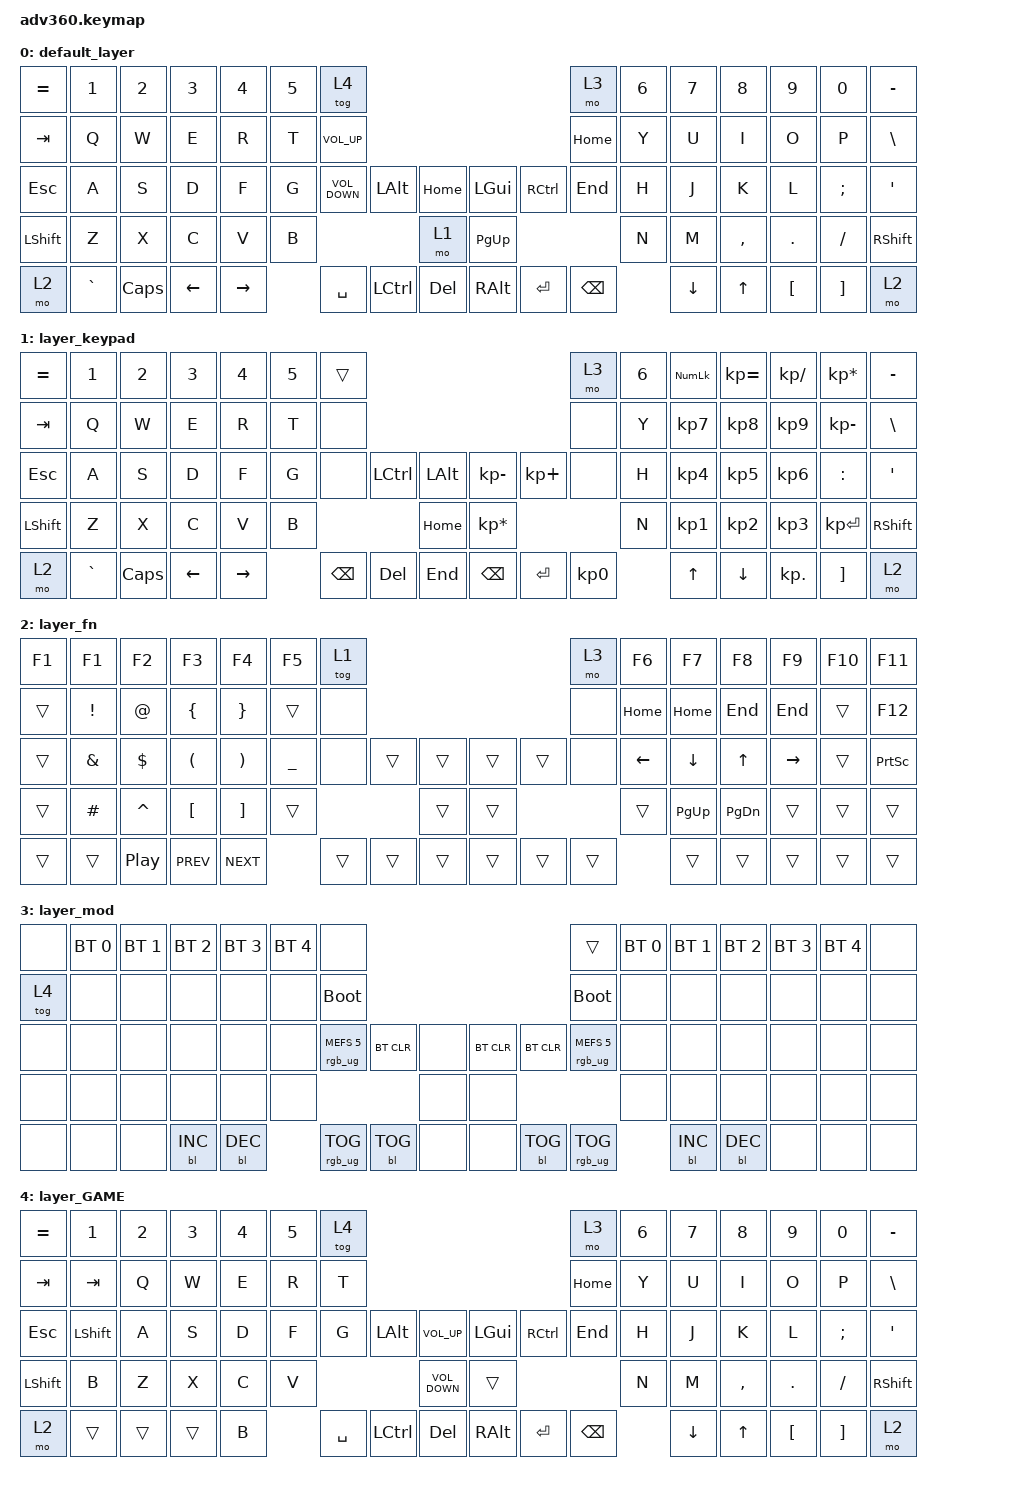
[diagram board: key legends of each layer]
/*
 * Copyright (c) 2020 The ZMK Contributors
 *
 * SPDX-License-Identifier: MIT
 */
/* THIS FILE WAS GENERATED!
 *
 * This file was generated automatically. You may or may not want to
 * edit it directly.
 */

#include <behaviors.dtsi>
#include <dt-bindings/zmk/backlight.h>
#include <dt-bindings/zmk/bt.h>
#include <dt-bindings/zmk/keys.h>
#include <dt-bindings/zmk/rgb.h>

/ {
    behaviors {
        #include "macros.dtsi"
      #include "version.dtsi"
      #ifndef VERSION_MACRO

        macro_ver: macro_ver {
            compatible = "zmk,behavior-macro";
            label = "macro_version";
            #binding-cells = <0>;
            bindings = <&kp RET>;
        };

        #endif

        hm: homerow_mods {
            compatible = "zmk,behavior-hold-tap";
            label = "HOMEROW_MODS";
            #binding-cells = <2>;
            tapping-term-ms = <200>;
            quick_tap_ms = <175>;
            flavor = "tap-preferred";
            bindings = <&kp>, <&kp>;
        };
    };

    macros {
    };

    keymap {
        compatible = "zmk,keymap";

        default_layer {
            bindings = <
&kp EQUAL  &kp N1     &kp N2    &kp N3    &kp N4     &kp N5  &tog 4                                                                         &mo 3          &kp N6  &kp N7    &kp N8     &kp N9    &kp N0    &kp MINUS
&kp TAB    &kp Q      &kp W     &kp E     &kp R      &kp T   &kp C_VOLUME_UP                                                                &kp HOME       &kp Y   &kp U     &kp I      &kp O     &kp P     &kp BSLH
&kp ESC    &kp A      &kp S     &kp D     &kp F      &kp G   &kp C_VOLUME_DOWN  &kp LEFT_ALT      &kp HOME        &kp LGUI       &kp RCTRL  &kp END        &kp H   &kp J     &kp K      &kp L     &kp SEMI  &kp SQT
&kp LSHFT  &kp Z      &kp X     &kp C     &kp V      &kp B                                        &mo 1           &kp PG_UP                                &kp N   &kp M     &kp COMMA  &kp DOT   &kp FSLH  &kp RSHFT
&mo 2      &kp GRAVE  &kp CAPS  &kp LEFT  &kp RIGHT          &kp SPACE          &kp LEFT_CONTROL  &kp DELETE      &kp RIGHT_ALT  &kp ENTER  &kp BACKSPACE          &kp DOWN  &kp UP     &kp LBKT  &kp RBKT  &mo 2
            >;
        };

        layer_keypad {
            bindings = <
&kp EQUAL  &kp N1     &kp N2    &kp N3    &kp N4     &kp N5  &trans                                                           &mo 3      &kp N6  &kp KP_NUM  &kp KP_EQUAL  &kp KP_DIVIDE  &kp KP_MULTIPLY  &kp MINUS
&kp TAB    &kp Q      &kp W     &kp E     &kp R      &kp T   &none                                                            &none      &kp Y   &kp KP_N7   &kp KP_N8     &kp KP_N9      &kp KP_MINUS     &kp BSLH
&kp ESC    &kp A      &kp S     &kp D     &kp F      &kp G   &none     &kp LCTRL  &kp LALT      &kp KP_MINUS     &kp KP_PLUS  &none      &kp H   &kp KP_N4   &kp KP_N5     &kp KP_N6      &kp COLON        &kp SQT
&kp LSHFT  &kp Z      &kp X     &kp C     &kp V      &kp B                        &kp HOME      &kp KP_MULTIPLY                          &kp N   &kp KP_N1   &kp KP_N2     &kp KP_N3      &kp KP_ENTER     &kp RSHFT
&mo 2      &kp GRAVE  &kp CAPS  &kp LEFT  &kp RIGHT          &kp BSPC  &kp DEL    &kp END       &kp BACKSPACE    &kp ENTER    &kp KP_N0          &kp UP      &kp DOWN      &kp KP_DOT     &kp RBKT         &mo 2
            >;
        };

        layer_fn {
            bindings = <
&kp F1  &kp F1           &kp F2            &kp F3                &kp F4                 &kp F5          &tog 1                                      &mo 3   &kp F6    &kp F7       &kp F8         &kp F9     &kp F10  &kp F11
&trans  &kp EXCLAMATION  &kp AT_SIGN       &kp LEFT_BRACE        &kp RIGHT_BRACE        &trans          &none                                       &none   &kp HOME  &kp HOME     &kp END        &kp END    &trans   &kp F12
&trans  &kp AMPERSAND    &kp DOLLAR        &kp LEFT_PARENTHESIS  &kp RIGHT_PARENTHESIS  &kp UNDERSCORE  &none   &trans  &trans      &trans  &trans  &none   &kp LEFT  &kp DOWN     &kp UP         &kp RIGHT  &trans   &kp PRINTSCREEN
&trans  &kp HASH         &kp CARET         &kp LEFT_BRACKET      &kp RIGHT_BRACKET      &trans                          &trans      &trans                  &trans    &kp PAGE_UP  &kp PAGE_DOWN  &trans     &trans   &trans
&trans  &trans           &kp C_PLAY_PAUSE  &kp C_PREV            &kp C_NEXT                             &trans  &trans  &trans      &trans  &trans  &trans            &trans       &trans         &trans     &trans   &trans
            >;
        };

        layer_mod {
            bindings = <
&none   &bt BT_SEL 0  &bt BT_SEL 1  &bt BT_SEL 2  &bt BT_SEL 3  &bt BT_SEL 4  &none                                                                  &trans                  &bt BT_SEL 0  &bt BT_SEL 1  &bt BT_SEL 2  &bt BT_SEL 3  &bt BT_SEL 4  &none
&tog 4  &none         &none         &none         &none         &none         &bootloader                                                            &bootloader             &none         &none         &none         &none         &none         &none
&none   &none         &none         &none         &none         &none         &rgb_ug RGB_MEFS_CMD 5  &bt BT_CLR  &none      &bt BT_CLR  &bt BT_CLR  &rgb_ug RGB_MEFS_CMD 5  &none         &none         &none         &none         &none         &none
&none   &none         &none         &none         &none         &none                                             &none      &none                                           &none         &none         &none         &none         &none         &none
&none   &none         &none         &bl BL_INC    &bl BL_DEC                  &rgb_ug RGB_TOG         &bl BL_TOG  &none      &none       &bl BL_TOG  &rgb_ug RGB_TOG                       &bl BL_INC    &bl BL_DEC    &none         &none         &none
            >;
        };

        layer_GAME {
            bindings = <
&kp EQUAL       &kp NUMBER_1    &kp NUMBER_2  &kp NUMBER_3  &kp NUMBER_4  &kp N5  &tog 4                                                                                 &mo 3          &kp N6  &kp N7    &kp N8     &kp N9    &kp N0    &kp MINUS
&kp TAB         &kp TAB         &kp Q         &kp W         &kp E         &kp R   &kp T                                                                                 &kp HOME       &kp Y   &kp U     &kp I      &kp O     &kp P     &kp BSLH
&kp ESC         &kp LEFT_SHIFT  &kp A         &kp S         &kp D         &kp F   &kp G      &kp LEFT_ALT      &kp C_VOLUME_UP        &kp LGUI       &kp RIGHT_CONTROL  &kp END        &kp H   &kp J     &kp K      &kp L     &kp SEMI  &kp SQT
&kp LEFT_SHIFT  &kp B           &kp Z         &kp X         &kp C         &kp V                                &kp C_VOLUME_DOWN      &trans                                           &kp N   &kp M     &kp COMMA  &kp DOT   &kp FSLH  &kp RSHFT
&mo 2           &trans          &trans        &trans        &kp B                 &kp SPACE  &kp LEFT_CONTROL  &kp DELETE             &kp RIGHT_ALT  &kp ENTER          &kp BACKSPACE          &kp DOWN  &kp UP     &kp LBKT  &kp RBKT  &mo 2
            >;
        };
    };

    conditional_layers {
        compatible = "zmk,conditional-layers";

        Cond_keypad {
            if-layers = <0>;
            then-layer = <1>;
        };
    };
};
